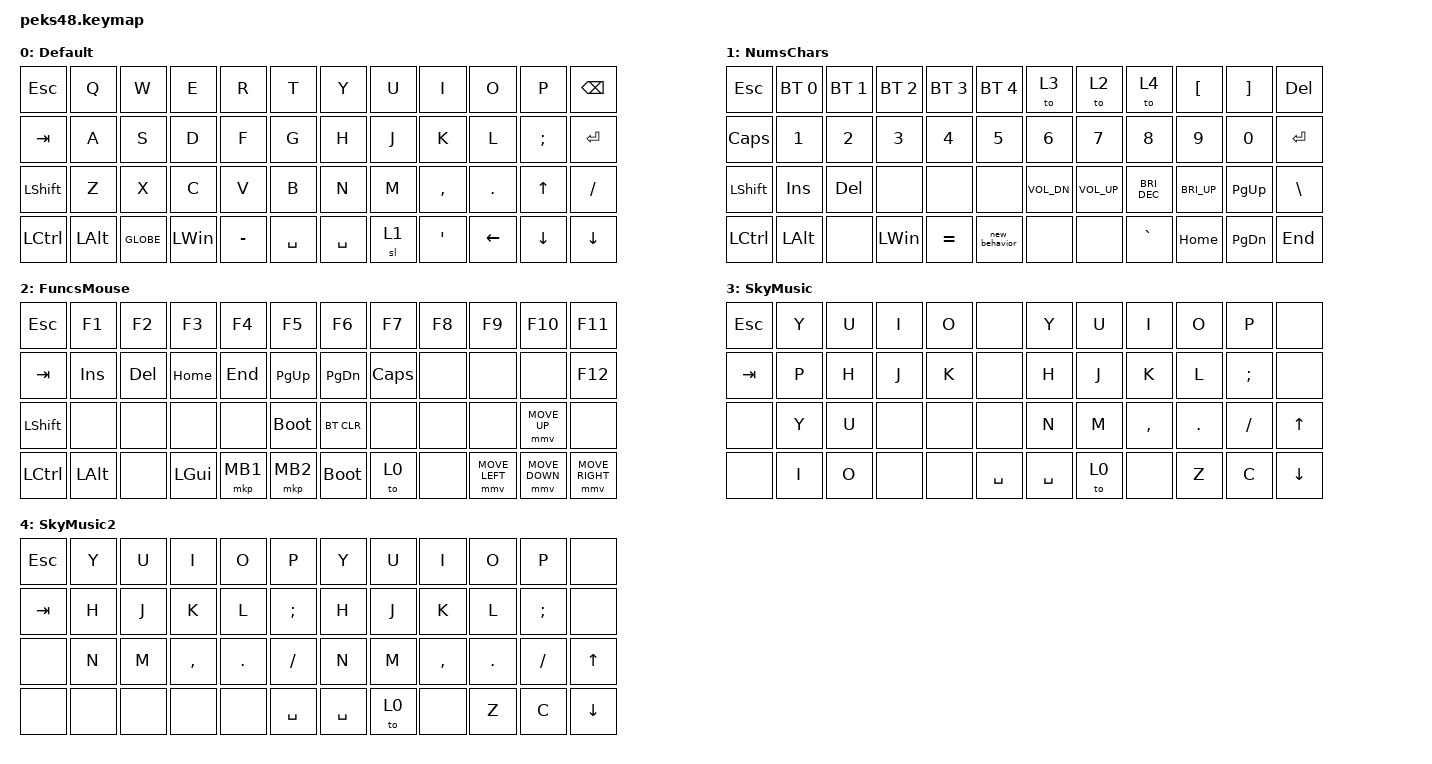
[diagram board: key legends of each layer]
#include <input/processors.dtsi>
#include <dt-bindings/zmk/input_transform.h>
#include <zephyr/dt-bindings/input/input-event-codes.h>
#include <behaviors.dtsi>
#include <dt-bindings/zmk/bt.h>
#include <dt-bindings/zmk/keys.h>
#include <dt-bindings/zmk/pointing.h>

// Conversion definition for using Japanese keyboard with OS settings

#define JP_DQUOTE       AT                // "
#define JP_AMPERSAND    CARET             // &
#define JP_QUOTE        AMPERSAND         // '
#define JP_EQUAL        UNDER             // =
#define JP_CARET        EQUAL             // ^
#define JP_YEN          0x89              // ¥
#define JP_PLUS         COLON             // +
#define JP_TILDE        PLUS              // ~
#define JP_PIPE         LS(0x89)          // |
#define JP_AT           LEFT_BRACKET      // @
#define JP_COLON        SINGLE_QUOTE      // :
#define JP_ASTERISK     DOUBLE_QUOTES     // *
#define JP_BACKQUOTE    LEFT_BRACE        // `
#define JP_UNDERSCORE   LS(0x87)          // _
#define JP_LBRACKET     RIGHT_BRACKET     // [
#define JP_RBRACKET     BACKSLASH         // ]
#define JP_LPAREN       ASTERISK          // (
#define JP_RPAREN       LEFT_PARENTHESIS  // )
#define JP_LBRACE       RIGHT_BRACE       // {
#define JP_RBRACE       PIPE              // }
#define JP_KANA         LANGUAGE_1        // かな
#define JP_EISU         LANGUAGE_2        // 英数
#define JP_HANZEN       GRAVE             // 半角/全角

&mt {
    flavor = "balanced";
    quick-tap-ms = <0>;
};

/ {
    behaviors {
        new_behavior: new_behavior {
            compatible = "zmk,behavior-tap-dance";
            label = "NEW_BEHAVIOR";
            #binding-cells = <0>;
            bindings = <&kp INT_KANA>, <&kp INT_RO>;
        };
    };

    keymap {
        compatible = "zmk,keymap";

        // レイヤー 0: QWERTY (Mac標準)

        Default {
            bindings = <
&kp ESCAPE  &kp Q     &kp W      &kp E     &kp R      &kp T        &kp Y      &kp U  &kp I      &kp O           &kp P           &kp BACKSPACE
&kp TAB     &kp A     &kp S      &kp D     &kp F      &kp G        &kp H      &kp J  &kp K      &kp L           &kp SEMICOLON   &kp ENTER
&kp LSHIFT  &kp Z     &kp X      &kp C     &kp V      &kp B        &kp N      &kp M  &kp COMMA  &kp DOT         &kp UP_ARROW    &kp SLASH
&kp LCTRL   &kp LALT  &kp GLOBE  &kp LWIN  &kp MINUS  &kp SPACE    &kp SPACE  &sl 1  &kp SQT    &kp LEFT_ARROW  &kp DOWN_ARROW  &kp DOWN_ARROW
            >;
        };

        // レイヤー 1: Colemak-DH 改
        // レイヤー 2: 数字 / 記号 / メディア (Mac最適化)

        NumsChars {
            bindings = <
&kp ESC     &bt BT_SEL 0  &bt BT_SEL 1  &bt BT_SEL 2  &bt BT_SEL 3  &bt BT_SEL 4     &to 3         &to 2         &to 4          &kp LBKT      &kp RBKT   &kp DELETE
&kp CAPS    &kp N1        &kp N2        &kp N3        &kp N4        &kp N5           &kp N6        &kp N7        &kp N8         &kp N9        &kp N0     &kp ENTER
&kp LSHIFT  &kp INS       &kp DEL       &none         &none         &none            &kp C_VOL_DN  &kp C_VOL_UP  &kp C_BRI_DEC  &kp C_BRI_UP  &kp PG_UP  &kp BACKSLASH
&kp LCTRL   &kp LALT      &none         &kp LWIN      &kp EQUAL     &new_behavior    &none         &none         &kp GRAVE      &kp HOME      &kp PG_DN  &kp END
            >;
        };

        // レイヤー 3: レイヤー2のコピー
        // レイヤー 4: ファンクション / ナビゲーション

        FuncsMouse {
            bindings = <
&kp ESC     &kp F1    &kp F2   &kp F3    &kp F4    &kp F5         &kp F6       &kp F7    &kp F8  &kp F9          &kp F10         &kp F11
&kp TAB     &kp INS   &kp DEL  &kp HOME  &kp END   &kp PG_UP      &kp PG_DN    &kp CAPS  &none   &none           &none           &kp F12
&kp LSHIFT  &none     &none    &none     &none     &bootloader    &bt BT_CLR   &none     &none   &none           &mmv MOVE_UP    &none
&kp LCTRL   &kp LALT  &none    &kp LGUI  &mkp MB1  &mkp MB2       &bootloader  &to 0     &none   &mmv MOVE_LEFT  &mmv MOVE_DOWN  &mmv MOVE_RIGHT
            >;
        };

        // レイヤー 5: 特殊配置

        SkyMusic {
            bindings = <
&kp ESCAPE  &kp Y  &kp U  &kp I  &kp O  &none        &kp Y      &kp U  &kp I      &kp O    &kp P      &none
&kp TAB     &kp P  &kp H  &kp J  &kp K  &none        &kp H      &kp J  &kp K      &kp L    &kp SEMI   &none
&none       &kp Y  &kp U  &none  &none  &none        &kp N      &kp M  &kp COMMA  &kp DOT  &kp SLASH  &kp UP
&none       &kp I  &kp O  &none  &none  &kp SPACE    &kp SPACE  &to 0  &none      &kp Z    &kp C      &kp DOWN
            >;
        };

        SkyMusic2 {
            bindings = <
&kp ESCAPE  &kp Y  &kp U  &kp I      &kp O       &kp P            &kp Y      &kp U  &kp I      &kp O    &kp P      &none
&kp TAB     &kp H  &kp J  &kp K      &kp L       &kp SEMICOLON    &kp H      &kp J  &kp K      &kp L    &kp SEMI   &none
&none       &kp N  &kp M  &kp COMMA  &kp PERIOD  &kp SLASH        &kp N      &kp M  &kp COMMA  &kp DOT  &kp SLASH  &kp UP
&none       &none  &none  &none      &none       &kp SPACE        &kp SPACE  &to 0  &none      &kp Z    &kp C      &kp DOWN
            >;
        };
    };
};
